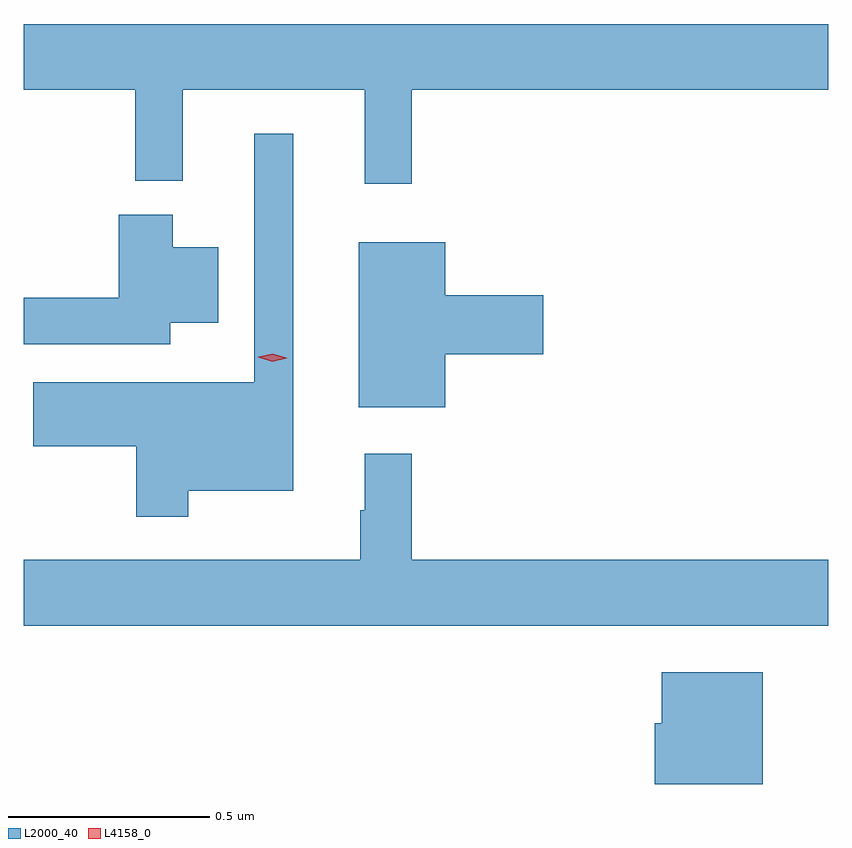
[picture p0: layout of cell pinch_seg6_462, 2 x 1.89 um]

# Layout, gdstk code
import gdstk
lib = gdstk.Library(unit=1e-6, precision=1e-09)
def P(c, l, *ps):  # polygons
    for p in ps: c.add(gdstk.Polygon(p, *l))
L2000_40 = (2000, 40)
L4158_0 = (4158, 0)

pinch_seg6_462 = lib.new_cell('pinch_seg6_462')
P(pinch_seg6_462, L2000_40, [(711.527,936.68),(712.562,936.68),(712.562,936.844),(710.562,936.844),(710.562,936.68),(710.839,936.68),(710.839,936.455),(710.957,936.455),(710.957,936.68),(711.41,936.68),(711.41,936.447),(711.527,936.447)],
  [(710.971,935.684),(711.232,935.684),(711.232,936.571),(711.135,936.571),(711.135,935.953),(710.586,935.953),(710.586,935.795),(710.842,935.795),(710.842,935.619),(710.971,935.619)],
  [(710.926,936.101),(711.046,936.101),(711.046,936.289),(710.932,936.289),(710.932,936.37),(710.798,936.37),(710.798,936.164),(710.562,936.164),(710.562,936.048),(710.926,936.048)],
  [(711.61,936.023),(711.853,936.023),(711.853,936.17),(711.61,936.17),(711.61,936.301),(711.395,936.301),(711.395,935.891),(711.61,935.891)],
  [(712.562,935.512),(711.527,935.512),(711.527,935.776),(711.41,935.776),(711.41,935.636),(711.399,935.636),(711.399,935.512),(710.562,935.512),(710.562,935.348),(712.562,935.348)],
  [(712.399,935.233),(712.148,935.233),(712.148,935.106),(712.13,935.106),(712.13,934.955),(712.399,934.955)])
P(pinch_seg6_462, L4158_0, [(711.18,936.005),(711.145,936.016),(711.145,936.017),(711.145,936.017),(711.181,936.025),(711.216,936.014),(711.216,936.014),(711.216,936.013)])

lib.write_gds('pinch_seg6_462.gds')
